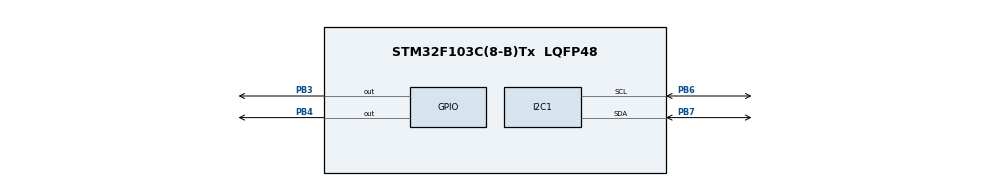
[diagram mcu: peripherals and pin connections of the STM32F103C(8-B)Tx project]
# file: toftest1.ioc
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I2C1.I2C_Mode=I2C_Fast
Mcu.Family=STM32F1
Mcu.Name=STM32F103C(8-B)Tx
Mcu.Package=LQFP48
NVIC.PriorityGroup=NVIC_PRIORITYGROUP_4
PA13.Mode=Serial_Wire
PA13.Signal=SYS_JTMS-SWDIO
PA14.Mode=Serial_Wire
PA14.Signal=SYS_JTCK-SWCLK
PB3.Signal=GPIO_Output
PB4.Signal=GPIO_Output
PB6.Mode=I2C
PB6.Signal=I2C1_SCL
PB7.Mode=I2C
PB7.Signal=I2C1_SDA
ProjectManager.HeapSize=0x200
ProjectManager.StackSize=0x400
ProjectManager.TargetToolchain=STM32CubeIDE
RCC.APB1Freq_Value=8000000
RCC.APB2Freq_Value=8000000
board=custom

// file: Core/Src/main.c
/* USER CODE BEGIN Header */
/**
  ******************************************************************************
  * @file           : main.c
  * @brief          : Main program body
  ******************************************************************************
  * @attention
  *
  * Copyright (c) 2025 STMicroelectronics.
  * All rights reserved.
  *
  * This software is licensed under terms that can be found in the LICENSE file
  * in the root directory of this software component.
  * If no LICENSE file comes with this software, it is provided AS-IS.
  *
  ******************************************************************************
  */
/* USER CODE END Header */
#include "main.h"

/* USER CODE BEGIN Includes */
#include "fonts.h"
#include "ssd1306.h"
#include "VL53L0X.h"
#include "stdio.h"
/* USER CODE END Includes */

extern I2C_HandleTypeDef hi2c1;

void SystemClock_Config(void);
static void MX_GPIO_Init(void);
static void MX_I2C1_Init(void);

/* USER CODE BEGIN 0 */
// If the variable should be initialized externally:
uint8_t stop_variable = 50;
uint16_t timeout_start_ms = 50;
uint16_t io_timeout = 50;
uint8_t did_timeout = 50;

void scanI2CBus(void) {
    char buffer[16];
    SSD1306_Clear();
    SSD1306_GotoXY(0, 0);
    SSD1306_Puts("I2C Scan:", &Font_11x18, 1);

    for (uint8_t address = 1; address < 128; address++) {
        // Perform an I2C write operation to check if the device responds
        if (HAL_I2C_IsDeviceReady(&hi2c1, (address << 1), 1, 10) == HAL_OK) {
            snprintf(buffer, sizeof(buffer), "Found: 0x%02X", address);
            SSD1306_GotoXY(0, 30);
            SSD1306_Puts(buffer, &Font_11x18, 1);
            SSD1306_UpdateScreen();
            HAL_Delay(1000);
            //SD1306_Clear();// Delay to display each address found
        }
    }
    HAL_Delay(2000);  // Delay at the end of the scan
}

//void writeRegnew(uint8_t deviceAddress, uint8_t reg, uint8_t value)
//{
//    uint8_t array[2];
//    array[0] = reg;    // Register address
//    array[1] = value;  // Value to write
//    HAL_I2C_Master_Transmit(&hi2c1, (deviceAddress << 1), array, 2, HAL_MAX_DELAY);
//}
/* USER CODE END 0 */

int main(void)
{

  /* MCU Configuration--------------------------------------------------------*/

  /* Reset of all peripherals, Initializes the Flash interface and the Systick. */
  HAL_Init();

  /* Configure the system clock */
  SystemClock_Config();

  /* Initialize all configured peripherals */
  MX_GPIO_Init();
  MX_I2C1_Init();
  /* USER CODE BEGIN 2 */
  // Initialize ToF Sensor

  SSD1306_Init();
//  SSD1306_GotoXY (0,0);
//    SSD1306_Puts ("Imanchana", &Font_11x18, 1);
//    SSD1306_GotoXY (0, 30);
//    SSD1306_Puts ("Kaveeshwara", &Font_11x18, 1);
//    SSD1306_UpdateScreen();
//    HAL_Delay (1000);
//
//    SSD1306_ScrollRight(0,7);
//    HAL_Delay(3000);
//    SSD1306_ScrollLeft(0,7);
//    HAL_Delay(3000);
//    SSD1306_Stopscroll();
//    SSD1306_Clear();
//    if (!init(true)) { // true indicates the use of a 2V8 voltage level
//    	  Error_Handler(); // Handle initialization error
//      }
//    SSD1306_GotoXY (0,0);
//        SSD1306_Puts ("Imanchana", &Font_11x18, 1);
//        SSD1306_GotoXY (0, 30);
//        SSD1306_Puts ("Kaveeshwara", &Font_11x18, 1);
//        SSD1306_UpdateScreen();
//        HAL_Delay (1000);
//
//        SSD1306_ScrollRight(0,7);
//        HAL_Delay(3000);
//        SSD1306_ScrollLeft(0,7);
//        HAL_Delay(3000);
//        SSD1306_Stopscroll();
//        SSD1306_Clear();

  // Initialize the display first
  // Before init(true)
  SSD1306_GotoXY(0, 30);
  SSD1306_Puts("Initializing", &Font_11x18, 1);
  SSD1306_UpdateScreen();
  HAL_Delay(500);

  if (HAL_I2C_Init(&hi2c1) != HAL_OK) {
      SSD1306_GotoXY(0, 30);
      SSD1306_Puts("Failed", &Font_11x18, 1);
      SSD1306_UpdateScreen();
      HAL_Delay(2000);
      Error_Handler();
  } else {
      SSD1306_GotoXY(0, 30);
      SSD1306_Puts("Success", &Font_11x18, 1);
      HAL_Delay(2000);
      SSD1306_UpdateScreen();
  }

  SSD1306_Clear();
//  if (!init(true)) {
//      SSD1306_GotoXY(0, 30);
//      SSD1306_Puts("Failed2", &Font_11x18, 1);
//      SSD1306_UpdateScreen();
//      HAL_Delay(2000);
//      Error_Handler();  // Will halt the program here
//  }

  HAL_GPIO_WritePin(GPIOB, GPIO_PIN_3, 1);  // Enable Sensor 1
  HAL_GPIO_WritePin(GPIOB, GPIO_PIN_4, 0);  // Disable Sensor 2
  HAL_Delay(50);
  if (VL53L0X_Init(0x29) == HAL_OK)
  {
	  SSD1306_GotoXY(0, 30);
	  SSD1306_Puts("Success", &Font_11x18, 1);
	  HAL_Delay(2000);
	  SSD1306_UpdateScreen();
  }
  else
  {
	  SSD1306_GotoXY(0, 30);
	  SSD1306_Puts("Faild8", &Font_11x18, 1);
	  HAL_Delay(2000);
	  SSD1306_UpdateScreen();
  }

  if (SetAddress(0x31) == HAL_OK)
  {
	  SSD1306_GotoXY(0, 30);
	  SSD1306_Puts("Success", &Font_11x18, 1);
	  HAL_Delay(2000);
	  SSD1306_UpdateScreen();
  }
  else
  {
	  SSD1306_GotoXY(0, 30);
	  SSD1306_Puts("Faild8", &Font_11x18, 1);
	  HAL_Delay(2000);
	  SSD1306_UpdateScreen();
  }

  //uint8_t currentAddress = 0x29;  // Default address
  //uint8_t newAddress = 0x34;      // New desired address
  //writeRegnew(currentAddress, 0x8A, newAddress & 0x7F);  // Change address
  HAL_Delay(10);

  SSD1306_GotoXY(0, 30);
  SSD1306_Puts("Initialized1", &Font_11x18, 1);
  SSD1306_UpdateScreen();
  HAL_Delay(1000);
  SSD1306_Clear();

  scanI2CBus();
  SSD1306_Clear();

  //HAL_GPIO_WritePin(GPIOB, GPIO_PIN_3, 0);  // Enable Sensor 1
  HAL_GPIO_WritePin(GPIOB, GPIO_PIN_4, 1);  // Disable Sensor 2
  HAL_Delay(50);
  if (VL53L0X_Init(0x29) == HAL_OK)
  {
	  SSD1306_GotoXY(0, 30);
	  SSD1306_Puts("Success", &Font_11x18, 1);
	  HAL_Delay(2000);
	  SSD1306_UpdateScreen();
  }
  else
  {
	  SSD1306_GotoXY(0, 30);
	  SSD1306_Puts("Faild8", &Font_11x18, 1);
	  HAL_Delay(2000);
	  SSD1306_UpdateScreen();
  }

  if (SetAddress(0x32) == HAL_OK)
  {
	  SSD1306_GotoXY(0, 30);
	  SSD1306_Puts("Success", &Font_11x18, 1);
	  HAL_Delay(2000);
	  SSD1306_UpdateScreen();
  }
  else
  {
	  SSD1306_GotoXY(0, 30);
	  SSD1306_Puts("Faild8", &Font_11x18, 1);
	  HAL_Delay(2000);
	  SSD1306_UpdateScreen();
  }

  HAL_Delay(10);

   SSD1306_GotoXY(0, 30);
   SSD1306_Puts("Initialized2", &Font_11x18, 1);
   SSD1306_UpdateScreen();
   HAL_Delay(1000);
   SSD1306_Clear();

   scanI2CBus();
   //HAL_GPIO_WritePin(GPIOB, GPIO_PIN_3, 1);  // Enable Sensor 1
   //HAL_GPIO_WritePin(GPIOB, GPIO_PIN_4, 1);  // Disable Sensor 2
   scanI2CBus();
   SSD1306_Clear();

  uint16_t distance1;
  uint16_t distance2;
  char buffer1[16];
  char buffer2[16];

  /* USER CODE END 2 */

  /* Infinite loop */
  /* USER CODE BEGIN WHILE */
  while (1)
  {
	  distance1 = readDistance(0x31);
	  distance2 = readDistance(0x32);
//	  HAL_Delay(1000);
	  //scanI2CBus();
//	  //VL53L0X_SetAddress(0x31);
//	  HAL_Delay(10);
//
//	  distance = readRangeSingleMillimeters();
	  itoa(distance1, buffer1, 10);
	  itoa(distance2, buffer2, 10);
	  //ssd1306_Fill(SSD1306_COLOR_BLACK); // Clear screen
	  //ssd1306_SetCursor(10, 10);         // Set cursor position
//	  ssd1306_WriteString(buffer, SSD1306_FONT_11x18,1); // Display text
	  SSD1306_GotoXY (37, 40);
	  SSD1306_Puts (buffer1, &Font_11x18, 1);
	  SSD1306_GotoXY (37, 10);
	  SSD1306_Puts (buffer2, &Font_11x18, 1);
	  SSD1306_UpdateScreen();         // Update OLED

	  HAL_Delay(200); // Delay to prevent excessive updates
	  //SSD1306_Clear();
	  //HAL_Delay(500);
    /* USER CODE END WHILE */

  }
}

void SystemClock_Config(void)
{
  RCC_OscInitTypeDef RCC_OscInitStruct = {0};
  RCC_ClkInitTypeDef RCC_ClkInitStruct = {0};

  /** Initializes the RCC Oscillators according to the specified parameters
  * in the RCC_OscInitTypeDef structure.
  */
  RCC_OscInitStruct.OscillatorType = RCC_OSCILLATORTYPE_HSI;
  RCC_OscInitStruct.HSIState = RCC_HSI_ON;
  RCC_OscInitStruct.HSICalibrationValue = RCC_HSICALIBRATION_DEFAULT;
  RCC_OscInitStruct.PLL.PLLState = RCC_PLL_NONE;
  if (HAL_RCC_OscConfig(&RCC_OscInitStruct) != HAL_OK)
  {
    Error_Handler();
  }

  /** Initializes the CPU, AHB and APB buses clocks
  */
  RCC_ClkInitStruct.ClockType = RCC_CLOCKTYPE_HCLK|RCC_CLOCKTYPE_SYSCLK
                              |RCC_CLOCKTYPE_PCLK1|RCC_CLOCKTYPE_PCLK2;
  RCC_ClkInitStruct.SYSCLKSource = RCC_SYSCLKSOURCE_HSI;
  RCC_ClkInitStruct.AHBCLKDivider = RCC_SYSCLK_DIV1;
  RCC_ClkInitStruct.APB1CLKDivider = RCC_HCLK_DIV1;
  RCC_ClkInitStruct.APB2CLKDivider = RCC_HCLK_DIV1;

  if (HAL_RCC_ClockConfig(&RCC_ClkInitStruct, FLASH_LATENCY_0) != HAL_OK)
  {
    Error_Handler();
  }
}

static void MX_I2C1_Init(void)
{

  hi2c1.Instance = I2C1;
  hi2c1.Init.ClockSpeed = 400000;
  hi2c1.Init.DutyCycle = I2C_DUTYCYCLE_2;
  hi2c1.Init.OwnAddress1 = 0;
  hi2c1.Init.AddressingMode = I2C_ADDRESSINGMODE_7BIT;
  hi2c1.Init.DualAddressMode = I2C_DUALADDRESS_DISABLE;
  hi2c1.Init.OwnAddress2 = 0;
  hi2c1.Init.GeneralCallMode = I2C_GENERALCALL_DISABLE;
  hi2c1.Init.NoStretchMode = I2C_NOSTRETCH_DISABLE;
  if (HAL_I2C_Init(&hi2c1) != HAL_OK)
  {
    Error_Handler();
  }

}

static void MX_GPIO_Init(void)
{
  GPIO_InitTypeDef GPIO_InitStruct = {0};

  /* GPIO Ports Clock Enable */
  __HAL_RCC_GPIOA_CLK_ENABLE();
  __HAL_RCC_GPIOB_CLK_ENABLE();

  /*Configure GPIO pin Output Level */
  HAL_GPIO_WritePin(GPIOB, GPIO_PIN_3|GPIO_PIN_4, GPIO_PIN_RESET);

  /*Configure GPIO pins : PB3 PB4 */
  GPIO_InitStruct.Pin = GPIO_PIN_3|GPIO_PIN_4;
  GPIO_InitStruct.Mode = GPIO_MODE_OUTPUT_PP;
  GPIO_InitStruct.Pull = GPIO_NOPULL;
  GPIO_InitStruct.Speed = GPIO_SPEED_FREQ_LOW;
  HAL_GPIO_Init(GPIOB, &GPIO_InitStruct);

}

void Error_Handler(void)
{
  __disable_irq();
  while (1)
  {
  }
}
